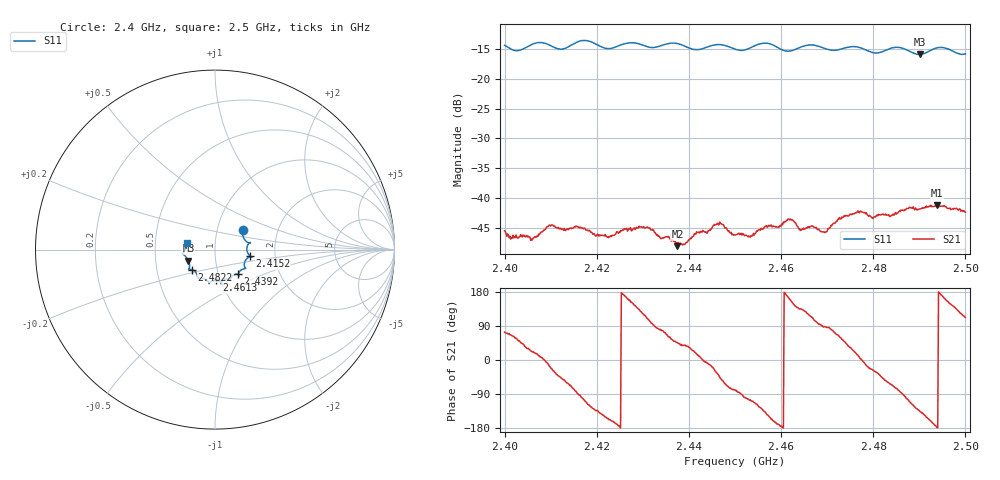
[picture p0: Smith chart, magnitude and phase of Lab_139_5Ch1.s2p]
# Hz S RI R 50
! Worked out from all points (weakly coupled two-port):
!   601 points, 2.4 GHz to 2.5 GHz, reference 50 ohm
!   highest |S21| = -41.21 dB at 2.4938 GHz (marker M1); lowest = -48.1 dB at 2.4375 GHz (marker M2)
!   lowest |S11| = -15.9 dB at 2.4902 GHz (marker M3), VSWR 1.38, Z = 36.9 - j4.63 ohm
!   |S11| at or under -10 dB: start of sweep to end of sweep
!   S12 and S22 are empty: the file has one direction only
!   S11 on the Smith chart (normalised r, x): 2.4 GHz: 1.33, +0.31; 2.4152 GHz: 1.48, -0.11; 2.4392 GHz: 1.24, -0.35; 2.4613 GHz: 0.96, -0.34; 2.4822 GHz: 0.76, -0.17; 2.5 GHz: 0.73, +0.05
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2.4e9  0.1559 0.1109  0.0015 0.00506  0 0  0 0
2.406167e9  0.1926 0.0368  0.00423 0.00172  0 0  0 0
2.409833e9  0.1883 0.0339  0.00561 -0.0018  0 0  0 0
2.415167e9  0.195 -0.0362  0.00107 -0.00561  0 0  0 0
2.416667e9  0.2048 -0.0422  -0.000881 -0.00554  0 0  0 0
2.422667e9  0.1654 -0.0689  -0.00439 -0.00181  0 0  0 0
2.429667e9  0.1616 -0.1069  -0.00345 0.00455  0 0  0 0
2.433333e9  0.132 -0.132  0.000632 0.0047  0 0  0 0
2.4375e9  0.1351 -0.1444  0.00273 0.00283  0 0  0 0
2.439167e9  0.1271 -0.1379  0.00316 0.00258  0 0  0 0
2.446333e9  0.0858 -0.1739  0.0048 -0.00372  0 0  0 0
2.45e9  0.0687 -0.1639  0.000926 -0.00478  0 0  0 0
2.456667e9  0.039 -0.1954  -0.00436 -0.00378  0 0  0 0
2.461333e9  0.00683 -0.1705  -0.00635 0.00127  0 0  0 0
2.466667e9  -0.0333 -0.1895  -0.00221 0.00536  0 0  0 0
2.4695e9  -0.0392 -0.1758  0.00017 0.0051  0 0  0 0
2.476333e9  -0.0945 -0.1598  0.00715 0.00218  0 0  0 0
2.482167e9  -0.128 -0.1118  0.00479 -0.00548  0 0  0 0
2.483333e9  -0.1393 -0.1102  0.00365 -0.00624  0 0  0 0
2.490167e9  -0.1479 -0.0612  -0.00583 -0.00558  0 0  0 0
2.493833e9  -0.1805 -0.024  -0.00869 -0.000308  0 0  0 0
2.5e9  -0.1583 0.0341  -0.0029 0.007  0 0  0 0
